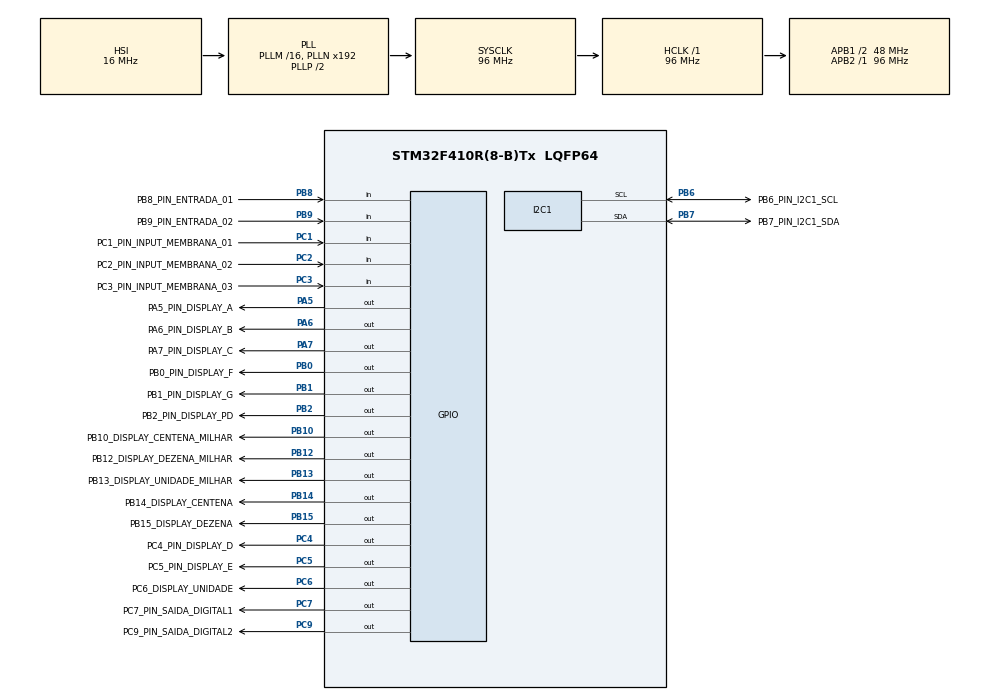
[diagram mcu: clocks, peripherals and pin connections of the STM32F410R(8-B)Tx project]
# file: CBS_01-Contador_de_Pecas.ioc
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Mcu.Family=STM32F4
Mcu.Name=STM32F410R(8-B)Tx
Mcu.Package=LQFP64
NVIC.PriorityGroup=NVIC_PRIORITYGROUP_4
PA13.Mode=Serial_Wire
PA13.Signal=SYS_JTMS-SWDIO
PA14.Mode=Serial_Wire
PA14.Signal=SYS_JTCK-SWCLK
PA5.GPIO_Label=PA5_PIN_DISPLAY_A
PA5.Signal=GPIO_Output
PA6.GPIO_Label=PA6_PIN_DISPLAY_B
PA6.Signal=GPIO_Output
PA7.GPIO_Label=PA7_PIN_DISPLAY_C
PA7.Signal=GPIO_Output
PB0.GPIO_Label=PB0_PIN_DISPLAY_F
PB0.Signal=GPIO_Output
PB1.GPIO_Label=PB1_PIN_DISPLAY_G
PB1.Signal=GPIO_Output
PB10.GPIO_Label=PB10_DISPLAY_CENTENA_MILHAR
PB10.Signal=GPIO_Output
PB12.GPIO_Label=PB12_DISPLAY_DEZENA_MILHAR
PB12.Signal=GPIO_Output
PB13.GPIO_Label=PB13_DISPLAY_UNIDADE_MILHAR
PB13.Signal=GPIO_Output
PB14.GPIO_Label=PB14_DISPLAY_CENTENA
PB14.Signal=GPIO_Output
PB15.GPIO_Label=PB15_DISPLAY_DEZENA
PB15.Signal=GPIO_Output
PB2.GPIO_Label=PB2_PIN_DISPLAY_PD
PB2.Signal=GPIO_Output
PB6.GPIO_Label=PB6_PIN_I2C1_SCL
PB6.Mode=I2C
PB6.Signal=I2C1_SCL
PB7.GPIO_Label=PB7_PIN_I2C1_SDA
PB7.Mode=I2C
PB7.Signal=I2C1_SDA
PB8.GPIO_Label=PB8_PIN_ENTRADA_01
PB8.GPIO_PuPd=GPIO_PULLDOWN
PB8.Signal=GPIO_Input
PB9.GPIO_Label=PB9_PIN_ENTRADA_02
PB9.GPIO_PuPd=GPIO_PULLDOWN
PB9.Signal=GPIO_Input
PC1.GPIO_Label=PC1_PIN_INPUT_MEMBRANA_01
PC1.GPIO_PuPd=GPIO_PULLUP
PC1.Signal=GPIO_Input
PC14-OSC32_IN.Mode=LSE-External-Oscillator
PC14-OSC32_IN.Signal=RCC_OSC32_IN
PC15-OSC32_OUT.Mode=LSE-External-Oscillator
PC15-OSC32_OUT.Signal=RCC_OSC32_OUT
PC2.GPIO_Label=PC2_PIN_INPUT_MEMBRANA_02
PC2.GPIO_PuPd=GPIO_PULLUP
PC2.Signal=GPIO_Input
PC3.GPIO_Label=PC3_PIN_INPUT_MEMBRANA_03
PC3.GPIO_PuPd=GPIO_PULLUP
PC3.Signal=GPIO_Input
PC4.GPIO_Label=PC4_PIN_DISPLAY_D
PC4.Signal=GPIO_Output
PC5.GPIO_Label=PC5_PIN_DISPLAY_E
PC5.Signal=GPIO_Output
PC6.GPIO_Label=PC6_DISPLAY_UNIDADE
PC6.Signal=GPIO_Output
PC7.GPIO_Label=PC7_PIN_SAIDA_DIGITAL1
PC7.Signal=GPIO_Output
PC9.GPIO_Label=PC9_PIN_SAIDA_DIGITAL2
PC9.Signal=GPIO_Output
ProjectManager.HeapSize=0x200
ProjectManager.StackSize=0x400
ProjectManager.TargetToolchain=STM32CubeIDE
RCC.48MHZClocksFreq_Value=48000000
RCC.AHBFreq_Value=96000000
RCC.APB1CLKDivider=RCC_HCLK_DIV2
RCC.APB1Freq_Value=48000000
RCC.APB1TimFreq_Value=96000000
RCC.APB2Freq_Value=96000000
RCC.APB2TimFreq_Value=96000000
RCC.CortexFreq_Value=96000000
RCC.HCLKFreq_Value=96000000
RCC.HSE_VALUE=25000000
RCC.HSI_VALUE=16000000
RCC.RCC_RTC_Clock_Source=RCC_RTCCLKSOURCE_LSE
RCC.RCC_RTC_Clock_SourceVirtual=RCC_RTCCLKSOURCE_LSE
RCC.SYSCLKFreq_VALUE=96000000
RCC.SYSCLKSource=RCC_SYSCLKSOURCE_PLLCLK
RCC.VCOOutputFreq_Value=192000000
VP_RTC_VS_RTC_Activate.Mode=RTC_Enabled
board=custom

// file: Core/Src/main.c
/* USER CODE BEGIN Header */
/**
 ******************************************************************************
 * @file           : main.c
 * @brief          : Main program body
 ******************************************************************************
 * @attention
 *
 * Copyright (c) 2026 STMicroelectronics.
 * All rights reserved.
 *
 * This software is licensed under terms that can be found in the LICENSE file
 * in the root directory of this software component.
 * If no LICENSE file comes with this software, it is provided AS-IS.
 *
 *
 * PROJETO CONTADOR DE PEÇAS COM DISPLAY 7 SEGMENTOS
 * GRAVAÇÃO DE VALORES NA EEPROM
 *
 ******************************************************************************
 */
/* USER CODE END Header */
#include "main.h"

/* USER CODE BEGIN Includes */
#include <defines.h>
#include <display.h>
#include <eeprom.h>
#include <timer.h>

/* USER CODE END Includes */

I2C_HandleTypeDef hi2c1;

RTC_HandleTypeDef hrtc;

/* USER CODE BEGIN PV */
int32_t contador_pecas = 0;
int32_t contador_pecas_anterior = 0;
int32_t setpoint = 0;
int32_t setpoint_boost = 0;
int32_t setpoint_obrigatorio = 0;
int32_t setpoint_obrigatorio_boost = 0;

int32_t setpoint_proxima_verificacao = 0;
int32_t setpoint_proxima_verificacao_obrigatoria = 0;
// uint32_t setpoint = 100;

// Variáveis para controle do modo
uint8_t modo = 0;
uint32_t setpoint_obrigatorio_contador = 0;
uint8_t inspecao_obrigatoria = 0;
// Variaveis display
// volatile uint16_t splash_timeout = 0;

// variaveis auxiliares
// uint8_t saida_01 = 0;

// variaveis eeprom
uint32_t eeprom_timer = 0;
uint32_t setpoint_obrigatorio_guardado = 0;

// flags auxiliares
uint8_t flagaux_setpoint = 0;
uint8_t eeprom_flagaux_salvar = 0;

uint8_t flagaux_verifica_pecas = 0;
uint8_t flagaux_verifica_pecas_obrigatoria = 0;

/* USER CODE END PV */

void SystemClock_Config(void);
static void MX_GPIO_Init(void);
static void MX_I2C1_Init(void);
static void MX_RTC_Init(void);

int main(void) {

  /* MCU Configuration--------------------------------------------------------*/

  /* Reset of all peripherals, Initializes the Flash interface and the Systick.
   */
  HAL_Init();

  /* USER CODE BEGIN Init */
  __HAL_RCC_PWR_CLK_ENABLE();
  HAL_PWR_EnableBkUpAccess();
  /* USER CODE END Init */

  /* Configure the system clock */
  SystemClock_Config();

  /* Initialize all configured peripherals */
  MX_GPIO_Init();
  MX_I2C1_Init();
  MX_RTC_Init();
  /* USER CODE BEGIN 2 */
  splash_screen(200, 11, 14, 1, 0, 0, 1);
  eeprom_init();
  // dados = eeprom_read();
  carrega_config();
  // setpoint_proxima_verificacao = contador_pecas + setpoint;

  // if (dados.setpoint_obrigatorio_01 == 0xFFFF){
  //   dados.setpoint_01 = 100;
  //   dados.setpoint_obrigatorio_01 = 200;

  //   eeprom_write(&dados);
  // }
  HAL_Delay(200);
  /* USER CODE END 2 */

  /* Infinite loop */
  while (1) {

    /* USER CODE BEGIN 3 */

    le_botoes();
    modo_operacao();
    if (eeprom_flagaux_salvar == 1) {
      eeprom_timer = HAL_GetTick();
      eeprom_flagaux_salvar = 2;
    }
    if (eeprom_flagaux_salvar == 2) {
      if (HAL_GetTick() - eeprom_timer > 1000) {
        eeprom_write(&dados);
        eeprom_flagaux_salvar = 0;
      }
    }
    eeprom_process();
    // contagem();
  }
  /* USER CODE END 3 */
}

void SystemClock_Config(void) {
  RCC_OscInitTypeDef RCC_OscInitStruct = {0};
  RCC_ClkInitTypeDef RCC_ClkInitStruct = {0};

  /** Configure the main internal regulator output voltage
   */
  __HAL_RCC_PWR_CLK_ENABLE();
  __HAL_PWR_VOLTAGESCALING_CONFIG(PWR_REGULATOR_VOLTAGE_SCALE1);

  /** Initializes the RCC Oscillators according to the specified parameters
   * in the RCC_OscInitTypeDef structure.
   */
  RCC_OscInitStruct.OscillatorType =
      RCC_OSCILLATORTYPE_HSI | RCC_OSCILLATORTYPE_LSE;
  RCC_OscInitStruct.LSEState = RCC_LSE_ON;
  RCC_OscInitStruct.HSIState = RCC_HSI_ON;
  RCC_OscInitStruct.HSICalibrationValue = RCC_HSICALIBRATION_DEFAULT;
  RCC_OscInitStruct.PLL.PLLState = RCC_PLL_ON;
  RCC_OscInitStruct.PLL.PLLSource = RCC_PLLSOURCE_HSI;
  RCC_OscInitStruct.PLL.PLLM = 16;
  RCC_OscInitStruct.PLL.PLLN = 192;
  RCC_OscInitStruct.PLL.PLLP = RCC_PLLP_DIV2;
  RCC_OscInitStruct.PLL.PLLQ = 4;
  RCC_OscInitStruct.PLL.PLLR = 2;
  if (HAL_RCC_OscConfig(&RCC_OscInitStruct) != HAL_OK) {
    Error_Handler();
  }

  /** Initializes the CPU, AHB and APB buses clocks
   */
  RCC_ClkInitStruct.ClockType = RCC_CLOCKTYPE_HCLK | RCC_CLOCKTYPE_SYSCLK |
                                RCC_CLOCKTYPE_PCLK1 | RCC_CLOCKTYPE_PCLK2;
  RCC_ClkInitStruct.SYSCLKSource = RCC_SYSCLKSOURCE_PLLCLK;
  RCC_ClkInitStruct.AHBCLKDivider = RCC_SYSCLK_DIV1;
  RCC_ClkInitStruct.APB1CLKDivider = RCC_HCLK_DIV2;
  RCC_ClkInitStruct.APB2CLKDivider = RCC_HCLK_DIV1;

  if (HAL_RCC_ClockConfig(&RCC_ClkInitStruct, FLASH_LATENCY_3) != HAL_OK) {
    Error_Handler();
  }
}

static void MX_I2C1_Init(void) {

  hi2c1.Instance = I2C1;
  hi2c1.Init.ClockSpeed = 100000;
  hi2c1.Init.DutyCycle = I2C_DUTYCYCLE_2;
  hi2c1.Init.OwnAddress1 = 0;
  hi2c1.Init.AddressingMode = I2C_ADDRESSINGMODE_7BIT;
  hi2c1.Init.DualAddressMode = I2C_DUALADDRESS_DISABLE;
  hi2c1.Init.OwnAddress2 = 0;
  hi2c1.Init.GeneralCallMode = I2C_GENERALCALL_DISABLE;
  hi2c1.Init.NoStretchMode = I2C_NOSTRETCH_DISABLE;
  if (HAL_I2C_Init(&hi2c1) != HAL_OK) {
    Error_Handler();
  }
}

static void MX_RTC_Init(void) {

  /** Initialize RTC Only
   */
  hrtc.Instance = RTC;
  hrtc.Init.HourFormat = RTC_HOURFORMAT_24;
  hrtc.Init.AsynchPrediv = 127;
  hrtc.Init.SynchPrediv = 255;
  hrtc.Init.OutPut = RTC_OUTPUT_DISABLE;
  hrtc.Init.OutPutPolarity = RTC_OUTPUT_POLARITY_HIGH;
  hrtc.Init.OutPutType = RTC_OUTPUT_TYPE_OPENDRAIN;
  if (HAL_RTC_Init(&hrtc) != HAL_OK) {
    Error_Handler();
  }
}

static void MX_GPIO_Init(void) {
  GPIO_InitTypeDef GPIO_InitStruct = {0};

  /* GPIO Ports Clock Enable */
  __HAL_RCC_GPIOC_CLK_ENABLE();
  __HAL_RCC_GPIOA_CLK_ENABLE();
  __HAL_RCC_GPIOB_CLK_ENABLE();

  /*Configure GPIO pin Output Level */
  HAL_GPIO_WritePin(GPIOA,
                    PA5_PIN_DISPLAY_A_Pin | PA6_PIN_DISPLAY_B_Pin |
                        PA7_PIN_DISPLAY_C_Pin,
                    GPIO_PIN_RESET);

  /*Configure GPIO pin Output Level */
  HAL_GPIO_WritePin(GPIOC,
                    PC4_PIN_DISPLAY_D_Pin | PC5_PIN_DISPLAY_E_Pin |
                        PC6_DISPLAY_UNIDADE_Pin | PC7_PIN_SAIDA_DIGITAL1_Pin |
                        PC9_PIN_SAIDA_DIGITAL2_Pin,
                    GPIO_PIN_RESET);

  /*Configure GPIO pin Output Level */
  HAL_GPIO_WritePin(
      GPIOB,
      PB0_PIN_DISPLAY_F_Pin | PB1_PIN_DISPLAY_G_Pin | PB2_PIN_DISPLAY_PD_Pin |
          PB10_DISPLAY_CENTENA_MILHAR_Pin | PB12_DISPLAY_DEZENA_MILHAR_Pin |
          PB13_DISPLAY_UNIDADE_MILHAR_Pin | PB14_DISPLAY_CENTENA_Pin |
          PB15_DISPLAY_DEZENA_Pin,
      GPIO_PIN_RESET);

  /*Configure GPIO pins : PC1_PIN_INPUT_MEMBRANA_01_Pin
   * PC2_PIN_INPUT_MEMBRANA_02_Pin PC3_PIN_INPUT_MEMBRANA_03_Pin */
  GPIO_InitStruct.Pin = PC1_PIN_INPUT_MEMBRANA_01_Pin |
                        PC2_PIN_INPUT_MEMBRANA_02_Pin |
                        PC3_PIN_INPUT_MEMBRANA_03_Pin;
  GPIO_InitStruct.Mode = GPIO_MODE_INPUT;
  GPIO_InitStruct.Pull = GPIO_PULLUP;
  HAL_GPIO_Init(GPIOC, &GPIO_InitStruct);

  /*Configure GPIO pins : PA5_PIN_DISPLAY_A_Pin PA6_PIN_DISPLAY_B_Pin
   * PA7_PIN_DISPLAY_C_Pin */
  GPIO_InitStruct.Pin =
      PA5_PIN_DISPLAY_A_Pin | PA6_PIN_DISPLAY_B_Pin | PA7_PIN_DISPLAY_C_Pin;
  GPIO_InitStruct.Mode = GPIO_MODE_OUTPUT_PP;
  GPIO_InitStruct.Pull = GPIO_NOPULL;
  GPIO_InitStruct.Speed = GPIO_SPEED_FREQ_LOW;
  HAL_GPIO_Init(GPIOA, &GPIO_InitStruct);

  /*Configure GPIO pins : PC4_PIN_DISPLAY_D_Pin PC5_PIN_DISPLAY_E_Pin
     PC6_DISPLAY_UNIDADE_Pin PC7_PIN_SAIDA_DIGITAL1_Pin
                           PC9_PIN_SAIDA_DIGITAL2_Pin */
  GPIO_InitStruct.Pin = PC4_PIN_DISPLAY_D_Pin | PC5_PIN_DISPLAY_E_Pin |
                        PC6_DISPLAY_UNIDADE_Pin | PC7_PIN_SAIDA_DIGITAL1_Pin |
                        PC9_PIN_SAIDA_DIGITAL2_Pin;
  GPIO_InitStruct.Mode = GPIO_MODE_OUTPUT_PP;
  GPIO_InitStruct.Pull = GPIO_NOPULL;
  GPIO_InitStruct.Speed = GPIO_SPEED_FREQ_LOW;
  HAL_GPIO_Init(GPIOC, &GPIO_InitStruct);

  /*Configure GPIO pins : PB0_PIN_DISPLAY_F_Pin PB1_PIN_DISPLAY_G_Pin
     PB2_PIN_DISPLAY_PD_Pin PB10_DISPLAY_CENTENA_MILHAR_Pin
                           PB12_DISPLAY_DEZENA_MILHAR_Pin
     PB13_DISPLAY_UNIDADE_MILHAR_Pin PB14_DISPLAY_CENTENA_Pin
     PB15_DISPLAY_DEZENA_Pin */
  GPIO_InitStruct.Pin =
      PB0_PIN_DISPLAY_F_Pin | PB1_PIN_DISPLAY_G_Pin | PB2_PIN_DISPLAY_PD_Pin |
      PB10_DISPLAY_CENTENA_MILHAR_Pin | PB12_DISPLAY_DEZENA_MILHAR_Pin |
      PB13_DISPLAY_UNIDADE_MILHAR_Pin | PB14_DISPLAY_CENTENA_Pin |
      PB15_DISPLAY_DEZENA_Pin;
  GPIO_InitStruct.Mode = GPIO_MODE_OUTPUT_PP;
  GPIO_InitStruct.Pull = GPIO_NOPULL;
  GPIO_InitStruct.Speed = GPIO_SPEED_FREQ_LOW;
  HAL_GPIO_Init(GPIOB, &GPIO_InitStruct);

  /*Configure GPIO pins : PB8_PIN_ENTRADA_01_Pin PB9_PIN_ENTRADA_02_Pin */
  GPIO_InitStruct.Pin = PB8_PIN_ENTRADA_01_Pin | PB9_PIN_ENTRADA_02_Pin;
  GPIO_InitStruct.Mode = GPIO_MODE_INPUT;
  GPIO_InitStruct.Pull = GPIO_PULLDOWN;
  HAL_GPIO_Init(GPIOB, &GPIO_InitStruct);

}

/* USER CODE BEGIN 4 */

void splash_screen(uint16_t tempo_ms, uint8_t d5, uint8_t d4, uint8_t d3,
                   uint8_t d2, uint8_t d1, uint8_t d0) {
  splash_timeout = tempo_ms;
  splash_digits[0] = d0;
  splash_digits[1] = d1;
  splash_digits[2] = d2;
  splash_digits[3] = d3;
  splash_digits[4] = d4;
  splash_digits[5] = d5;
}

void modo_operacao() {

  switch (btn_relogio_evento) {
  case 1:
    if (modo == 0) {
      modo = 1;
      flagaux_setpoint = 1;
    } else if (modo == 1) {
      modo = 2;
      flagaux_setpoint = 2;
    } else {
      modo = 0;
      flagaux_setpoint = 0;
    }
    break;

  case 2:
    modo = 0;
    flagaux_setpoint = 0;
    break;

  case 3:
    break;
  }

  btn_relogio_evento = 0;
  switch (modo) {
  case 0:
    contagem();
    break;
  case 1:
    modo_setpoint();
    break;
  case 2:
    modo_setpoint_obrigatorio();
    break;
  }
}

// void contagem() {
//   static uint8_t trava = 0;

//   if (contador_pecas > 999999) {
//     contador_pecas = 0;
//   } else if (contador_pecas < 0) {
//     contador_pecas = 999999;
//   }

//   display_atualiza(contador_pecas);
//   if ((entrada_digital_status) && (!trava)) {
//     trava = 1;
//     contador_pecas++;
//     contador_pecas_anterior = contador_pecas;
//   }

//   if (contador_pecas >= setpoint) {
//     HAL_GPIO_WritePin(SAIDA_01_PORT, SAIDA_01, HIGH);
//     inspecao_obrigatoria = 1;
//   }
//   if ((contador_pecas >= setpoint_obrigatorio) && (inspecao_obrigatoria ==
//   1)) {
//     HAL_GPIO_WritePin(SAIDA_02_PORT, SAIDA_02, HIGH);
//     inspecao_obrigatoria = 2;
//   }

//   if (!entrada_digital_status) {
//     trava = 0;
//   }

//   if ((entrada_digital_02_status) && (inspecao_obrigatoria == 2)) {
//     inspecao_obrigatoria = 0;
//     HAL_GPIO_WritePin(SAIDA_01_PORT, SAIDA_01, LOW);
//     HAL_GPIO_WritePin(SAIDA_02_PORT, SAIDA_02, LOW);
//   }
//   if (contador_pecas_anterior != contador_pecas) {
//     salva_configs();
//   }
// }

void contagem() {
  static uint8_t trava = 0;

  if (contador_pecas > 999999) {
    contador_pecas = 0;
  } else if (contador_pecas < 0) {
    contador_pecas = 999999;
  }

  display_atualiza(contador_pecas);

  // CONTAGEM COM TRAVA
  if ((entrada_digital_status) && (!trava)) {
    trava = 1;
    contador_pecas++;
    contador_pecas_anterior = contador_pecas;
  }

  if (!entrada_digital_status) {
    trava = 0;
  }

  // ==============================
  // LÓGICA DE SAÍDAS (CORRIGIDA)
  // ==============================

  // // ESTÁGIO 1 → setpoint normal
  // if ((contador_pecas >= setpoint) && (inspecao_obrigatoria == 0)) {
  //   HAL_GPIO_WritePin(SAIDA_01_PORT, SAIDA_01, HIGH);
  //   inspecao_obrigatoria = 1;
  // }

  if (contador_pecas >= setpoint_proxima_verificacao) {
    HAL_GPIO_WritePin(SAIDA_01_PORT, SAIDA_01, HIGH);
    inspecao_obrigatoria = 1;
  }

  // ESTÁGIO 2 → setpoint obrigatório
  if ((contador_pecas >= setpoint_proxima_verificacao_obrigatoria) && (inspecao_obrigatoria == 1)) {
    HAL_GPIO_WritePin(SAIDA_02_PORT, SAIDA_02, HIGH);
    inspecao_obrigatoria = 2;
  }

  // RESET (somente após completar ciclo)
  if ((entrada_digital_02_status) && (!trava)) {
    if (inspecao_obrigatoria == 1) {
      HAL_GPIO_WritePin(SAIDA_01_PORT, SAIDA_01, LOW);
      inspecao_obrigatoria = 0;
    } else if (inspecao_obrigatoria == 2) {
      inspecao_obrigatoria = 0;
      HAL_GPIO_WritePin(SAIDA_01_PORT, SAIDA_01, LOW);
      HAL_GPIO_WritePin(SAIDA_02_PORT, SAIDA_02, LOW);
    }

    // HAL_GPIO_WritePin(SAIDA_02_PORT, SAIDA_02, LOW);

    // 👉 MUITO IMPORTANTE: reinicia os ciclos
    setpoint_proxima_verificacao = contador_pecas + setpoint;
    setpoint_proxima_verificacao_obrigatoria = contador_pecas + setpoint_obrigatorio;
  }

  // SALVAÇÃO
  if (contador_pecas_anterior != contador_pecas) {
    salva_configs();
  }
}

void modo_setpoint() {
  static uint32_t setpoint_guardado = 0;

  setpoint = setpoint_boost;

  if (setpoint != setpoint_guardado) {
    setpoint_guardado = setpoint;
    dados.setpoint_01 = setpoint_guardado;
    // eeprom_write(&dados);
    eeprom_flagaux_salvar = 1;
    setpoint_proxima_verificacao = contador_pecas + setpoint;
  }

  if (setpoint > 999999) {
    setpoint = 0;
  } else if (setpoint < 0) {
    setpoint = 999999;
  }

  display_atualiza(setpoint);
  // salva_configs();
  //  Implementar lógica para modo de configuração do setpoint
}

void modo_setpoint_obrigatorio() {
  static uint32_t ultimo_valor = 0;
  static uint32_t tempo_ultima_mudanca = 0;

  setpoint_obrigatorio = setpoint_obrigatorio_boost;

  if (setpoint_obrigatorio != ultimo_valor) {
    ultimo_valor = setpoint_obrigatorio;
    tempo_ultima_mudanca = HAL_GetTick();
  }

  // Só salva se ficou 1s sem mudar
  if ((HAL_GetTick() - tempo_ultima_mudanca) > 1000) {
    if (dados.setpoint_obrigatorio_01 != setpoint_obrigatorio) {
      dados.setpoint_obrigatorio_01 = setpoint_obrigatorio;
      eeprom_flagaux_salvar = 1;

      setpoint_proxima_verificacao_obrigatoria =
          contador_pecas + setpoint_obrigatorio;
    }
  }

  display_atualiza(setpoint_obrigatorio);
}

void btn_relogio_processado(void) {

  if (setpoint_obrigatorio > 999999) {
    setpoint_obrigatorio = 0;
  }

  // borda de subida
  if (btn_relogio_status && !btn_relogio_borda_anterior) {
    btn_relogio_contador = 0;
    btn_relogio_hold = 0;
  }

  // botão pressionado
  if (btn_relogio_status) {

    if (btn_relogio_contador < 1000)
      btn_relogio_contador++;

    // LONG PRESS (1x só)
    if (btn_relogio_contador >= TEMPO_LONG_PRESS) {
      btn_relogio_evento = 2;
    }
  }

  // borda de descida → CLICK
  if (!btn_relogio_status && btn_relogio_borda_anterior) {
    if (btn_relogio_contador < TEMPO_LONG_PRESS) {
      btn_relogio_evento = 1;
    }
  }

  btn_relogio_borda_anterior = btn_relogio_status;
}

// void le_botoes() {
//   static uint8_t max_press = 0;
//   static uint8_t min_press = 0;

//   if (flagaux_setpoint == 1) {
//     if (setpoint_boost > 999999) {
//       setpoint_boost = 0;
//     } else if (setpoint_boost < 0) {
//       setpoint_boost = 999999;
//     }
//   }
//   if (flagaux_setpoint == 2) {
//     if (setpoint_obrigatorio_boost > 999999) {
//       setpoint_obrigatorio_boost = 0;
//     } else if (setpoint_obrigatorio_boost < 0) {
//       setpoint_obrigatorio_boost = 999999;
//     }
//   }

//   if (btn_max_status)
//     max_press = 1;

//   if (btn_min_status)
//     min_press = 1;

//   if (max_press && min_press) {

//     if (flagaux_setpoint == 1) {
//       setpoint_boost = 0;
//     } else if (flagaux_setpoint == 2) {
//       setpoint_obrigatorio_boost = 0;
//     }

//     max_press = 0;
//     min_press = 0;
//   }

//   // reset quando solta ambos
//   if (!btn_max_status && !btn_min_status) {
//     max_press = 0;
//     min_press = 0;
//   }

//   if (btn_max_status) {
//     if (btn_max_timeout == 0) {
//       if (btn_max_turbo >= 25) {
//         if (flagaux_setpoint == 0) {
//           contador_pecas += 100000;
//         } else if (flagaux_setpoint == 1) {
//           setpoint_boost += 100000;
//         } else if (flagaux_setpoint == 2) {
//           setpoint_obrigatorio_boost += 100000;
//         }
//       } else if (btn_max_turbo >= 20) {
//         if (flagaux_setpoint == 0) {
//           contador_pecas += 10000;
//         } else if (flagaux_setpoint == 1) {
//           setpoint_boost += 10000;
//         } else if (flagaux_setpoint == 2) {
//           setpoint_obrigatorio_boost += 10000;
//         }
//       } else if (btn_max_turbo >= 15) {
//         if (flagaux_setpoint == 0) {
//           contador_pecas += 1000;
//         } else if (flagaux_setpoint == 1) {
//           setpoint_boost += 1000;
//         } else if (flagaux_setpoint == 2) {
//           setpoint_obrigatorio_boost += 1000;
//         }
//       } else if (btn_max_turbo >= 10) {
//         if (flagaux_setpoint == 0) {
//           contador_pecas += 100;
//         } else if (flagaux_setpoint == 1) {
//           setpoint_boost += 100;
//         } else if (flagaux_setpoint == 2) {
//           setpoint_obrigatorio_boost += 100;
//         }
//       } else if (btn_max_turbo >= 8) {
//         if (flagaux_setpoint == 0) {
//           contador_pecas += 50;
//         } else if (flagaux_setpoint == 1) {
//           setpoint_boost += 50;
//         } else if (flagaux_setpoint == 2) {
//           setpoint_obrigatorio_boost += 50;
//         }
//       } else if (btn_max_turbo >= 5) {
//         if (flagaux_setpoint == 0) {
//           contador_pecas += 10;
//         } else if (flagaux_setpoint == 1) {
//           setpoint_boost += 10;
//         } else if (flagaux_setpoint == 2) {
//           setpoint_obrigatorio_boost += 10;
//         }
//       } else {
//         if (flagaux_setpoint == 0) {
//           contador_pecas++;
//         }
//         if (flagaux_setpoint == 1) {
//           setpoint_boost++;
//         } else if (flagaux_setpoint == 2) {
//           setpoint_obrigatorio_boost++;
//         }
//       }
//       if (btn_max_turbo < 25) {
//         btn_max_turbo++;
//       }
//       if (btn_max_turbo >= 5) {
//         btn_max_timeout = TURBO_LEVEL2;
//       } else {
//         btn_max_timeout = TURBO_LEVEL1;
//       }
//     }
//   } else {
//     btn_max_turbo = 0;
//   }

//   if (btn_min_status) {
//     if (btn_min_timeout == 0) {
//       if (btn_min_turbo >= 25) {
//         if (flagaux_setpoint == 0) {
//           contador_pecas -= 100000;
//         } else if (flagaux_setpoint == 1) {
//           setpoint_boost -= 100000;
//         } else if (flagaux_setpoint == 2) {
//           setpoint_obrigatorio_boost -= 100000;
//         }
//       } else if (btn_min_turbo >= 20) {
//         if (flagaux_setpoint == 0) {
//           contador_pecas -= 10000;
//         } else if (flagaux_setpoint == 1) {
//           setpoint_boost -= 10000;
//         } else if (flagaux_setpoint == 2) {
//           setpoint_obrigatorio_boost -= 10000;
//         }
//       } else if (btn_min_turbo >= 15) {
//         if (flagaux_setpoint == 0) {
//           contador_pecas -= 1000;
//         } else if (flagaux_setpoint == 1) {
//           setpoint_boost -= 1000;
//         } else if (flagaux_setpoint == 2) {
//           setpoint_obrigatorio_boost -= 1000;
//         }
//       } else if (btn_min_turbo >= 10) {
//         if (flagaux_setpoint == 0) {
//           contador_pecas -= 100;
//         } else if (flagaux_setpoint == 1) {
//           setpoint_boost -= 100;
//         } else if (flagaux_setpoint == 2) {
//           setpoint_obrigatorio_boost -= 100;
//         }
//       } else if (btn_min_turbo >= 8) {
//         if (flagaux_setpoint == 0) {
//           contador_pecas -= 50;
//         } else if (flagaux_setpoint == 1) {
//           setpoint_boost -= 50;
//         } else if (flagaux_setpoint == 2) {
//           setpoint_obrigatorio_boost -= 50;
//         }
//       } else if (btn_min_turbo >= 5) {
//         if (flagaux_setpoint == 0) {
//           contador_pecas -= 10;
//         } else if (flagaux_setpoint == 1) {
//           setpoint_boost -= 10;
//         } else if (flagaux_setpoint == 2) {
//           setpoint_obrigatorio_boost -= 10;
//         }
//       } else {
//         if (flagaux_setpoint == 0) {
//           contador_pecas--;
//         } else if (flagaux_setpoint == 1) {
//           setpoint_boost--;
//         } else if (flagaux_setpoint == 2) {
//           setpoint_obrigatorio_boost--;
//         }
//       }
//       if (btn_min_turbo < 25) {
//         btn_min_turbo++;
//       }
//       if (btn_min_turbo >= 5) {
//         btn_min_timeout = TURBO_LEVEL2;
//       } else {
//         btn_min_timeout = TURBO_LEVEL1;
//       }
//     }
//   } else {
//     btn_min_turbo = 0;
//   }

//   btn_max_borda_anterior = btn_max_status;
//   btn_min_borda_anterior = btn_min_status;
//   btn_relogio_borda_anterior = btn_relogio_status;
// }

void le_botoes() {
  static uint8_t max_press = 0;
  static uint8_t min_press = 0;

  if (flagaux_setpoint == 1) {
    if (setpoint_boost > 999999) {
      setpoint_boost = 0;
    } else if (setpoint_boost < 0) {
      setpoint_boost = 999999;
    }
  }
  if (flagaux_setpoint == 2) {
    if (setpoint_obrigatorio_boost > 999999) {
      setpoint_obrigatorio_boost = 0;
    } else if (setpoint_obrigatorio_boost < 0) {
      setpoint_obrigatorio_boost = 999999;
    }
  }

  if (btn_max_status)
    max_press = 1;

  if (btn_min_status)
    min_press = 1;

  if (max_press && min_press) {

    if (flagaux_setpoint == 1) {
      setpoint_boost = 0;
    } else if (flagaux_setpoint == 2) {
      setpoint_obrigatorio_boost = 0;
    }

    max_press = 0;
    min_press = 0;
  }

  // reset quando solta ambos
  if (!btn_max_status && !btn_min_status) {
    max_press = 0;
    min_press = 0;
  }

  if (btn_max_status) {
    if (btn_max_timeout == 0) {
      if (btn_max_turbo >= 25) {
        if (flagaux_setpoint == 1) {
          setpoint_boost += 100000;
        } else if (flagaux_setpoint == 2) {
          setpoint_obrigatorio_boost += 100000;
        }
      } else if (btn_max_turbo >= 20) {
        if (flagaux_setpoint == 1) {
          setpoint_boost += 10000;
        } else if (flagaux_setpoint == 2) {
          setpoint_obrigatorio_boost += 10000;
        }
      } else if (btn_max_turbo >= 15) {
        if (flagaux_setpoint == 1) {
          setpoint_boost += 1000;
        } else if (flagaux_setpoint == 2) {
          setpoint_obrigatorio_boost += 1000;
        }
      } else if (btn_max_turbo >= 10) {
        if (flagaux_setpoint == 1) {
          setpoint_boost += 100;
        } else if (flagaux_setpoint == 2) {
          setpoint_obrigatorio_boost += 100;
        }
      } else if (btn_max_turbo >= 8) {
        if (flagaux_setpoint == 1) {
          setpoint_boost += 50;
        } else if (flagaux_setpoint == 2) {
          setpoint_obrigatorio_boost += 50;
        }
      } else if (btn_max_turbo >= 5) {
        if (flagaux_setpoint == 1) {
          setpoint_boost += 10;
        } else if (flagaux_setpoint == 2) {
          setpoint_obrigatorio_boost += 10;
        }
      } else {
        if (flagaux_setpoint == 1) {
          setpoint_boost++;
        } else if (flagaux_setpoint == 2) {
          setpoint_obrigatorio_boost++;
        }
      }
      if (btn_max_turbo < 25) {
        btn_max_turbo++;
      }
      if (btn_max_turbo >= 5) {
        btn_max_timeout = TURBO_LEVEL2;
      } else {
        btn_max_timeout = TURBO_LEVEL1;
      }
    }
  } else {
    btn_max_turbo = 0;
  }

  if (btn_min_status) {
    if (btn_min_timeout == 0) {
      if (btn_min_turbo >= 25) {
        if (flagaux_setpoint == 1) {
          setpoint_boost -= 100000;
        } else if (flagaux_setpoint == 2) {
          setpoint_obrigatorio_boost -= 100000;
        }
      } else if (btn_min_turbo >= 20) {
        if (flagaux_setpoint == 1) {
          setpoint_boost -= 10000;
        } else if (flagaux_setpoint == 2) {
          setpoint_obrigatorio_boost -= 10000;
        }
      } else if (btn_min_turbo >= 15) {
        if (flagaux_setpoint == 1) {
          setpoint_boost -= 1000;
        } else if (flagaux_setpoint == 2) {
          setpoint_obrigatorio_boost -= 1000;
        }
      } else if (btn_min_turbo >= 10) {
        if (flagaux_setpoint == 1) {
          setpoint_boost -= 100;
        } else if (flagaux_setpoint == 2) {
          setpoint_obrigatorio_boost -= 100;
        }
      } else if (btn_min_turbo >= 8) {
        if (flagaux_setpoint == 1) {
          setpoint_boost -= 50;
        } else if (flagaux_setpoint == 2) {
          setpoint_obrigatorio_boost -= 50;
        }
      } else if (btn_min_turbo >= 5) {
        if (flagaux_setpoint == 1) {
          setpoint_boost -= 10;
        } else if (flagaux_setpoint == 2) {
          setpoint_obrigatorio_boost -= 10;
        }
      } else {
        if (flagaux_setpoint == 1) {
          setpoint_boost--;
        } else if (flagaux_setpoint == 2) {
          setpoint_obrigatorio_boost--;
        }
      }
      if (btn_min_turbo < 25) {
        btn_min_turbo++;
      }
      if (btn_min_turbo >= 5) {
        btn_min_timeout = TURBO_LEVEL2;
      } else {
        btn_min_timeout = TURBO_LEVEL1;
      }
    }
  } else {
    btn_min_turbo = 0;
  }

  btn_max_borda_anterior = btn_max_status;
  btn_min_borda_anterior = btn_min_status;
  btn_relogio_borda_anterior = btn_relogio_status;
}

void salva_configs() {
  static int32_t ultimo_salvo = -1;

  if ((contador_pecas % 10 == 0) && (contador_pecas != ultimo_salvo)) {
    HAL_RTCEx_BKUPWrite(&hrtc, RTC_BKP_DR0, contador_pecas);
    ultimo_salvo = contador_pecas;
  }
  if (flagaux_setpoint == 1) {
    // HAL_RTCEx_BKUPWrite(&hrtc, RTC_BKP_DR0, setpoint);
  } else if (flagaux_setpoint == 2) {
    // HAL_RTCEx_BKUPWrite(&hrtc, RTC_BKP_DR1, setpoint_obrigatorio);
  }
}

void carrega_config() {
  contador_pecas = HAL_RTCEx_BKUPRead(&hrtc, RTC_BKP_DR0);
  // setpoint = HAL_RTCEx_BKUPRead(&hrtc, RTC_BKP_DR0);
  // setpoint_obrigatorio = HAL_RTCEx_BKUPRead(&hrtc, RTC_BKP_DR1);

  // setpoint_boost = setpoint;
  // setpoint_obrigatorio_boost = setpoint_obrigatorio;

  // eeprom_read(&dados);
  dados = eeprom_read();

  // protecao para lixo
  if (dados.setpoint_01 > 999999) {
    dados.setpoint_01 = 0;
  }
  if (dados.setpoint_obrigatorio_01 > 999999) {
    dados.setpoint_obrigatorio_01 = 0;
  }

  // joga para variaveis do sistema
  setpoint = dados.setpoint_01;
  setpoint_boost = setpoint;

  setpoint_obrigatorio = dados.setpoint_obrigatorio_01;
  setpoint_obrigatorio_boost = setpoint_obrigatorio;
}

/* USER CODE END 4 */

void Error_Handler(void) {
  __disable_irq();
  while (1) {
  }
}

#ifdef USE_FULL_ASSERT
/**
 * @brief  Reports the name of the source file and the source line number
 *         where the assert_param error has occurred.
 * @param  file: pointer to the source file name
 * @param  line: assert_param error line source number
 * @retval None
 */
void assert_failed(uint8_t *file, uint32_t line) {
  /* USER CODE BEGIN 6 */
  /* User can add his own implementation to report the file name and line
     number, ex: printf("Wrong parameters value: file %s on line %d\r\n", file,
     line) */
  /* USER CODE END 6 */
}
#endif /* USE_FULL_ASSERT */
